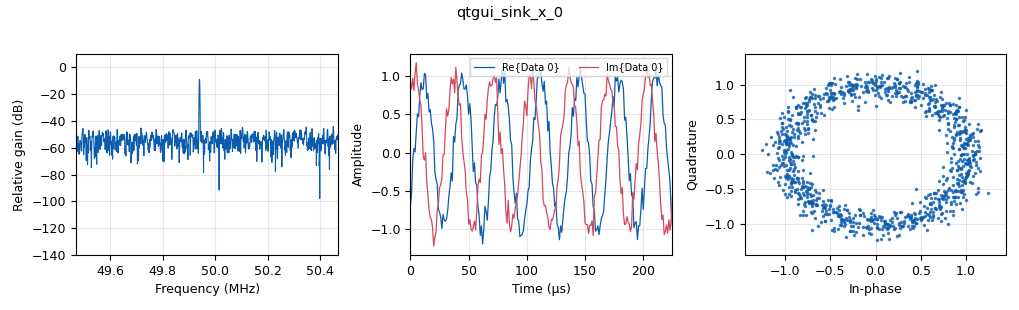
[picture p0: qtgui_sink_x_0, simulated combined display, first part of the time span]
options:
  parameters:
    author: amp
    generate_options: qt_gui
    id: top_block
    output_language: python
    title: Meteor Scatter Simulation
  states: {}

blocks:
- name: center_freq
  id: variable
  parameters:
    value: 49.97e6
  states: {}
- name: samp_rate
  id: variable
  parameters:
    value: 1e6
  states: {}
- name: analog_noise_source_x_0
  id: analog_noise_source_x
  parameters:
    amp: '0.15'
    noise_type: analog.GR_GAUSSIAN
    seed: '0'
    type: complex
  states: {}
- name: analog_sig_source_x_0
  id: analog_sig_source_x
  parameters:
    alias: Beacon
    amp: '1'
    comment: Beacon
    freq: center_freq
    offset: '0'
    phase: '0'
    samp_rate: samp_rate
    type: complex
    waveform: analog.GR_SIN_WAVE
  states: {}
- name: blocks_add_xx_0
  id: blocks_add_xx
  parameters:
    num_inputs: '3'
    type: complex
  states: {}
- name: blocks_multiply_xx_0
  id: blocks_multiply_xx
  parameters:
    type: complex
  states: {}
- name: blocks_vector_source_x_0
  id: blocks_vector_source_x
  parameters:
    comment: Meteor Envelope
    repeat: 'True'
    type: complex
    vector: ([0.0]*100000 + [np.exp(-x/20000.0) for x in range(10000)] + [0.0]*100000)
  states: {}
- name: freq_xlating_fir_filter_xxx_0
  id: freq_xlating_fir_filter_xxx
  parameters:
    alias: doppler_shift
    center_freq: '400'
    comment: Doppler Shift
    decim: '1'
    samp_rate: samp_rate
    taps: '[1]'
    type: ccc
  states: {}
- name: import_0
  id: import
  parameters:
    imports: import numpy as np
  states: {}
- name: qtgui_freq_sink_x_0
  id: qtgui_freq_sink_x
  parameters:
    bw: samp_rate
    fc: center_freq
    fftsize: '1024'
    type: complex
    wintype: window.WIN_HAMMING
  states: {state: disabled}
- name: qtgui_sink_x_0
  id: qtgui_sink_x
  parameters:
    bw: samp_rate
    fc: 49.97e6
    fftsize: '1024'
    showrf: 'True'
    type: complex
  states: {}
- name: qtgui_time_sink_x_0
  id: qtgui_time_sink_x
  parameters:
    ctrlpanel: 'True'
    size: '1024'
    srate: samp_rate
    type: complex
  states: {state: disabled}
- name: qtgui_waterfall_sink_x_0
  id: qtgui_waterfall_sink_x
  parameters:
    bw: samp_rate
    fc: center_freq
    fftsize: '2048'
    legend: 'False'
    type: complex
    update_time: '0.1'
  states: {state: disabled}

connections:
- [analog_noise_source_x_0, '0', blocks_add_xx_0, '0']
- [analog_sig_source_x_0, '0', blocks_add_xx_0, '1']
- [analog_sig_source_x_0, '0', blocks_multiply_xx_0, '0']
- [blocks_add_xx_0, '0', qtgui_freq_sink_x_0, '0']
- [blocks_add_xx_0, '0', qtgui_sink_x_0, '0']
- [blocks_add_xx_0, '0', qtgui_time_sink_x_0, '0']
- [blocks_add_xx_0, '0', qtgui_waterfall_sink_x_0, '0']
- [blocks_multiply_xx_0, '0', freq_xlating_fir_filter_xxx_0, '0']
- [blocks_vector_source_x_0, '0', blocks_multiply_xx_0, '1']
- [freq_xlating_fir_filter_xxx_0, '0', blocks_add_xx_0, '2']

metadata:
  file_format: 1
  grc_version: 3.10.9.2
